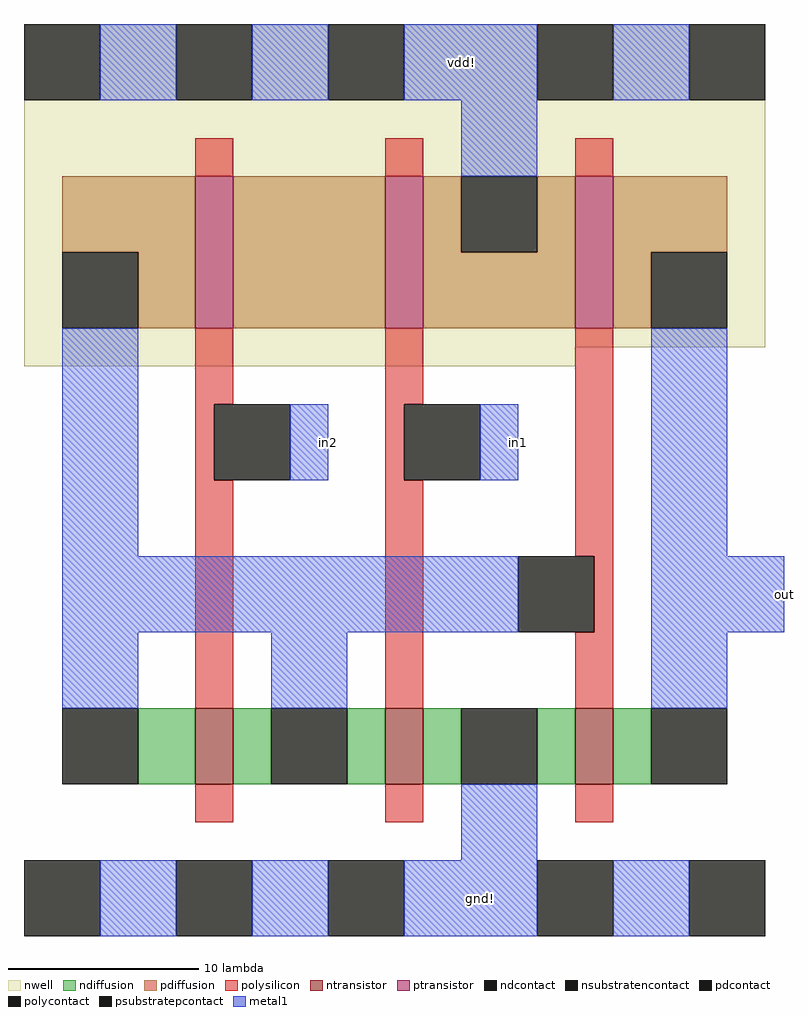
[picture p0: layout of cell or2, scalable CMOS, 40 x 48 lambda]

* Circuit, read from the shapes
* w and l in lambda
.subckt or2 gnd! in1 in2 out vdd!
M1 n1 in2 n1 gnd! nfet w=4 l=2
M2 gnd! in1 n1 gnd! nfet w=4 l=2
M3 out n1 gnd! gnd! nfet w=4 l=2
M4 n2 in2 n1 vdd! pfet w=8 l=2
M5 vdd! in1 n2 vdd! pfet w=8 l=2
M6 out n1 vdd! vdd! pfet w=8 l=2
.ends

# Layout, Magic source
magic
tech scmos
<< nwell >>
rect 20 28 59 45
rect 20 27 49 28
<< polysilicon >>
rect 29 37 31 39
rect 39 37 41 39
rect 49 37 51 39
rect 29 25 31 29
rect 39 25 41 29
rect 29 21 30 25
rect 39 21 40 25
rect 29 9 31 21
rect 39 9 41 21
rect 49 17 51 29
rect 50 13 51 17
rect 49 9 51 13
rect 29 3 31 5
rect 39 3 41 5
rect 49 3 51 5
<< ndiffusion >>
rect 26 5 29 9
rect 31 5 33 9
rect 37 5 39 9
rect 41 5 43 9
rect 47 5 49 9
rect 51 5 53 9
<< pdiffusion >>
rect 22 33 29 37
rect 26 29 29 33
rect 31 29 39 37
rect 41 33 43 37
rect 47 33 49 37
rect 41 29 49 33
rect 51 33 57 37
rect 51 29 53 33
<< metal1 >>
rect 24 41 28 45
rect 32 41 36 45
rect 40 41 47 45
rect 51 41 55 45
rect 43 37 47 41
rect 22 17 26 29
rect 34 21 36 25
rect 44 21 46 25
rect 53 17 57 29
rect 22 13 46 17
rect 53 13 60 17
rect 22 9 26 13
rect 33 9 37 13
rect 53 9 57 13
rect 43 1 47 5
rect 24 -3 28 1
rect 32 -3 36 1
rect 40 -3 47 1
rect 51 -3 55 1
<< ntransistor >>
rect 29 5 31 9
rect 39 5 41 9
rect 49 5 51 9
<< ptransistor >>
rect 29 29 31 37
rect 39 29 41 37
rect 49 29 51 37
<< polycontact >>
rect 30 21 34 25
rect 40 21 44 25
rect 46 13 50 17
<< ndcontact >>
rect 22 5 26 9
rect 33 5 37 9
rect 43 5 47 9
rect 53 5 57 9
<< pdcontact >>
rect 22 29 26 33
rect 43 33 47 37
rect 53 29 57 33
<< psubstratepcontact >>
rect 20 -3 24 1
rect 28 -3 32 1
rect 36 -3 40 1
rect 47 -3 51 1
rect 55 -3 59 1
<< nsubstratencontact >>
rect 20 41 24 45
rect 28 41 32 45
rect 36 41 40 45
rect 47 41 51 45
rect 55 41 59 45
<< labels >>
rlabel metal1 43 43 43 43 5 vdd!
rlabel metal1 44 -1 44 -1 1 gnd!
rlabel metal1 46 21 46 25 1 in1
rlabel metal1 36 21 36 25 1 in2
rlabel metal1 60 13 60 17 7 out
<< end >>
